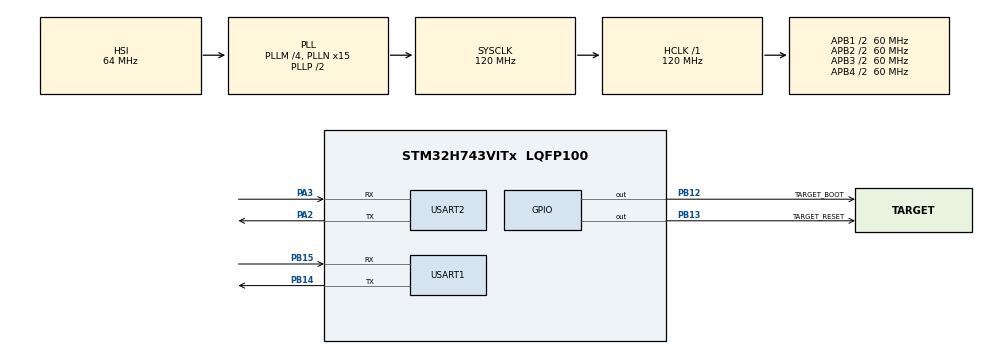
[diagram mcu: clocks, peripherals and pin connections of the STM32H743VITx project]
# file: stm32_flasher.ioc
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CORTEX_M7.CPU_DCache=Disabled
CORTEX_M7.CPU_ICache=Disabled
CORTEX_M7.default_mode_Activation=0
Mcu.Family=STM32H7
Mcu.Name=STM32H743VITx
Mcu.Package=LQFP100
NVIC.PriorityGroup=NVIC_PRIORITYGROUP_4
PA13\ (JTMS/SWDIO).Mode=Serial_Wire
PA13\ (JTMS/SWDIO).Signal=DEBUG_JTMS-SWDIO
PA14\ (JTCK/SWCLK).Mode=Serial_Wire
PA14\ (JTCK/SWCLK).Signal=DEBUG_JTCK-SWCLK
PA2.Mode=Asynchronous
PA2.Signal=USART2_TX
PA3.Mode=Asynchronous
PA3.Signal=USART2_RX
PB12.GPIO_Label=TARGET_BOOT
PB12.Signal=GPIO_Output
PB13.GPIO_Label=TARGET_RESET
PB13.Signal=GPIO_Output
PB14.Mode=Asynchronous
PB14.Signal=USART1_TX
PB15.Mode=Asynchronous
PB15.Signal=USART1_RX
ProjectManager.HeapSize=0x000
ProjectManager.StackSize=0x400
ProjectManager.TargetToolchain=Makefile
RCC.ADCFreq_Value=129000000
RCC.APB1Freq_Value=60000000
RCC.APB2Freq_Value=60000000
RCC.APB3Freq_Value=60000000
RCC.APB4Freq_Value=60000000
RCC.CortexFreq_Value=120000000
RCC.D1PPRE=RCC_APB3_DIV2
RCC.D2PPRE1=RCC_APB1_DIV2
RCC.D2PPRE2=RCC_APB2_DIV2
RCC.D3PPRE=RCC_APB4_DIV2
RCC.DIVM1=4
RCC.DIVN1=15
RCC.HCLKFreq_Value=120000000
RCC.HSE_VALUE=25000000
RCC.PLL2FRACN=0
RCC.PLL3FRACN=0
RCC.PLLFRACN=0
RCC.PWR_Regulator_Voltage_Scale=PWR_REGULATOR_VOLTAGE_SCALE1
RCC.SYSCLKFreq_VALUE=120000000
RCC.SYSCLKSource=RCC_SYSCLKSOURCE_PLLCLK
RCC.USBFreq_Value=120000000
USART1.FIFOMode=FIFOMODE_DISABLE
USART1.RXFIFOThreshold=RXFIFO_THRESHOLD_1EIGHTHFULL
USART1.TXFIFOThreshold=TXFIFO_THRESHOLD_1EIGHTHFULL
USART1.VirtualMode-Asynchronous=VM_ASYNC
USART2.OneBitSampling=UART_ONE_BIT_SAMPLE_DISABLE
USART2.RXFIFOThreshold=RXFIFO_THRESHOLD_1EIGHTHFULL
USART2.TXFIFOThreshold=TXFIFO_THRESHOLD_1EIGHTHFULL
USART2.VirtualMode-Asynchronous=VM_ASYNC
board=custom

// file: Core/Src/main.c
/* USER CODE BEGIN Header */
/**
  ******************************************************************************
  * @file           : main.c
  * @brief          : Main program body
  ******************************************************************************
  * @attention
  *
  * Copyright (c) 2023 STMicroelectronics.
  * All rights reserved.
  *
  * This software is licensed under terms that can be found in the LICENSE file
  * in the root directory of this software component.
  * If no LICENSE file comes with this software, it is provided AS-IS.
  *
  ******************************************************************************
  */
/* USER CODE END Header */
#include "main.h"

/* USER CODE BEGIN Includes */
#include <stdio.h>
#include <stdint.h>
#include <string.h>
#include <sys/param.h>
#include "stm32_port.h"
#include "esp_loader.h"
#include "example_common.h"

// Embedded binary files using bin2array.cmake
extern const uint8_t bootloader_bin[];
extern const uint32_t bootloader_bin_size;
extern const uint8_t bootloader_bin_md5[];
extern const uint8_t partition_table_bin[];
extern const uint32_t partition_table_bin_size;
extern const uint8_t partition_table_bin_md5[];
extern const uint8_t app_bin[];
extern const uint32_t app_bin_size;
extern const uint8_t app_bin_md5[];
/* USER CODE END Includes */

/* USER CODE BEGIN PD */
#define HIGHER_BAUDRATE 230400
#define BUF_LEN 128
/* USER CODE END PD */

UART_HandleTypeDef huart1;
UART_HandleTypeDef huart2;

void SystemClock_Config(void);
static void MX_GPIO_Init(void);
static void MX_USART1_UART_Init(void);
static void MX_USART2_UART_Init(void);

int main(void)
{
  /* USER CODE BEGIN 1 */
  static uint8_t buf[BUF_LEN] = {0};
  /* USER CODE END 1 */

  /* MCU Configuration--------------------------------------------------------*/

  /* Reset of all peripherals, Initializes the Flash interface and the Systick. */
  HAL_Init();

  /* Configure the system clock */
  SystemClock_Config();

  /* Initialize all configured peripherals */
  MX_GPIO_Init();
  MX_USART1_UART_Init();
  MX_USART2_UART_Init();
  /* USER CODE BEGIN 2 */

  esp_loader_t loader;

  stm32_port_t port = {
      .port.ops    = &stm32_uart_ops,
      .huart       = &huart2,
      .port_boot    = TARGET_BOOT_GPIO_Port,
      .pin_num_boot = TARGET_BOOT_Pin,
      .port_rst    = TARGET_RESET_GPIO_Port,
      .pin_num_rst = TARGET_RESET_Pin,
  };

  esp_loader_init_uart(&loader, &port.port);

  if (connect_to_target(&loader, HIGHER_BAUDRATE) == ESP_LOADER_SUCCESS) {

    printf("Loading bootloader...\n");
    target_chip_t chip = esp_loader_get_target(&loader);
    uint32_t bootloader_addr = get_bootloader_address(chip);
    flash_binary(&loader, bootloader_bin, bootloader_bin_size, bootloader_addr);
    printf("Loading partition table...\n");
    flash_binary(&loader, partition_table_bin, partition_table_bin_size, PARTITION_TABLE_ADDRESS);
    printf("Loading app...\n");
    flash_binary(&loader, app_bin, app_bin_size, APPLICATION_ADDRESS);
    esp_loader_reset_target(&loader);

#if (HIGHER_BAUDRATE != 115200)
    HAL_UART_DeInit(&huart2);
    huart2.Init.BaudRate = 115200;
    if (HAL_UART_Init(&huart2) != HAL_OK) {
      Error_Handler();
    }
#endif

    // Delay for skipping the boot message of the targets
    HAL_Delay(500);

    printf("********************************************\n");
    printf("*** Logs below are print from slave .... ***\n");
    printf("********************************************\n");
    while (1)
    {
      HAL_UART_Receive(&huart2, (uint8_t *)buf, BUF_LEN - 1, 100);
      printf("%s", buf);
      memset(buf, 0, BUF_LEN);
    }

  }
  /* USER CODE END 2 */

  /* Infinite loop */
  while (1)
  {

  }
}

void SystemClock_Config(void)
{
  RCC_OscInitTypeDef RCC_OscInitStruct = {0};
  RCC_ClkInitTypeDef RCC_ClkInitStruct = {0};

  /** Supply configuration update enable
  */
  HAL_PWREx_ConfigSupply(PWR_LDO_SUPPLY);

  /** Configure the main internal regulator output voltage
  */
  __HAL_PWR_VOLTAGESCALING_CONFIG(PWR_REGULATOR_VOLTAGE_SCALE1);

  while(!__HAL_PWR_GET_FLAG(PWR_FLAG_VOSRDY)) {}

  /** Initializes the RCC Oscillators according to the specified parameters
  * in the RCC_OscInitTypeDef structure.
  */
  RCC_OscInitStruct.OscillatorType = RCC_OSCILLATORTYPE_HSI;
  RCC_OscInitStruct.HSIState = RCC_HSI_DIV1;
  RCC_OscInitStruct.HSICalibrationValue = RCC_HSICALIBRATION_DEFAULT;
  RCC_OscInitStruct.PLL.PLLState = RCC_PLL_ON;
  RCC_OscInitStruct.PLL.PLLSource = RCC_PLLSOURCE_HSI;
  RCC_OscInitStruct.PLL.PLLM = 4;
  RCC_OscInitStruct.PLL.PLLN = 15;
  RCC_OscInitStruct.PLL.PLLP = 2;
  RCC_OscInitStruct.PLL.PLLQ = 2;
  RCC_OscInitStruct.PLL.PLLR = 2;
  RCC_OscInitStruct.PLL.PLLRGE = RCC_PLL1VCIRANGE_3;
  RCC_OscInitStruct.PLL.PLLVCOSEL = RCC_PLL1VCOWIDE;
  RCC_OscInitStruct.PLL.PLLFRACN = 0;
  if (HAL_RCC_OscConfig(&RCC_OscInitStruct) != HAL_OK)
  {
    Error_Handler();
  }

  /** Initializes the CPU, AHB and APB buses clocks
  */
  RCC_ClkInitStruct.ClockType = RCC_CLOCKTYPE_HCLK|RCC_CLOCKTYPE_SYSCLK
                              |RCC_CLOCKTYPE_PCLK1|RCC_CLOCKTYPE_PCLK2
                              |RCC_CLOCKTYPE_D3PCLK1|RCC_CLOCKTYPE_D1PCLK1;
  RCC_ClkInitStruct.SYSCLKSource = RCC_SYSCLKSOURCE_PLLCLK;
  RCC_ClkInitStruct.SYSCLKDivider = RCC_SYSCLK_DIV1;
  RCC_ClkInitStruct.AHBCLKDivider = RCC_HCLK_DIV1;
  RCC_ClkInitStruct.APB3CLKDivider = RCC_APB3_DIV2;
  RCC_ClkInitStruct.APB1CLKDivider = RCC_APB1_DIV2;
  RCC_ClkInitStruct.APB2CLKDivider = RCC_APB2_DIV2;
  RCC_ClkInitStruct.APB4CLKDivider = RCC_APB4_DIV2;

  if (HAL_RCC_ClockConfig(&RCC_ClkInitStruct, FLASH_LATENCY_1) != HAL_OK)
  {
    Error_Handler();
  }
}

static void MX_USART1_UART_Init(void)
{

  huart1.Instance = USART1;
  huart1.Init.BaudRate = 115200;
  huart1.Init.WordLength = UART_WORDLENGTH_8B;
  huart1.Init.StopBits = UART_STOPBITS_1;
  huart1.Init.Parity = UART_PARITY_NONE;
  huart1.Init.Mode = UART_MODE_TX_RX;
  huart1.Init.HwFlowCtl = UART_HWCONTROL_NONE;
  huart1.Init.OverSampling = UART_OVERSAMPLING_16;
  huart1.Init.OneBitSampling = UART_ONE_BIT_SAMPLE_DISABLE;
  huart1.Init.ClockPrescaler = UART_PRESCALER_DIV1;
  huart1.AdvancedInit.AdvFeatureInit = UART_ADVFEATURE_NO_INIT;
  if (HAL_UART_Init(&huart1) != HAL_OK)
  {
    Error_Handler();
  }
  if (HAL_UARTEx_SetTxFifoThreshold(&huart1, UART_TXFIFO_THRESHOLD_1_8) != HAL_OK)
  {
    Error_Handler();
  }
  if (HAL_UARTEx_SetRxFifoThreshold(&huart1, UART_RXFIFO_THRESHOLD_1_8) != HAL_OK)
  {
    Error_Handler();
  }
  if (HAL_UARTEx_DisableFifoMode(&huart1) != HAL_OK)
  {
    Error_Handler();
  }

}

static void MX_USART2_UART_Init(void)
{

  huart2.Instance = USART2;
  huart2.Init.BaudRate = 115200;
  huart2.Init.WordLength = UART_WORDLENGTH_8B;
  huart2.Init.StopBits = UART_STOPBITS_1;
  huart2.Init.Parity = UART_PARITY_NONE;
  huart2.Init.Mode = UART_MODE_TX_RX;
  huart2.Init.HwFlowCtl = UART_HWCONTROL_NONE;
  huart2.Init.OverSampling = UART_OVERSAMPLING_16;
  huart2.Init.OneBitSampling = UART_ONE_BIT_SAMPLE_DISABLE;
  huart2.Init.ClockPrescaler = UART_PRESCALER_DIV1;
  huart2.AdvancedInit.AdvFeatureInit = UART_ADVFEATURE_NO_INIT;
  if (HAL_UART_Init(&huart2) != HAL_OK)
  {
    Error_Handler();
  }
  if (HAL_UARTEx_SetTxFifoThreshold(&huart2, UART_TXFIFO_THRESHOLD_1_8) != HAL_OK)
  {
    Error_Handler();
  }
  if (HAL_UARTEx_SetRxFifoThreshold(&huart2, UART_RXFIFO_THRESHOLD_1_8) != HAL_OK)
  {
    Error_Handler();
  }
  if (HAL_UARTEx_DisableFifoMode(&huart2) != HAL_OK)
  {
    Error_Handler();
  }

}

static void MX_GPIO_Init(void)
{
  GPIO_InitTypeDef GPIO_InitStruct = {0};

  /* GPIO Ports Clock Enable */
  __HAL_RCC_GPIOA_CLK_ENABLE();
  __HAL_RCC_GPIOB_CLK_ENABLE();

  /*Configure GPIO pin Output Level */
  HAL_GPIO_WritePin(GPIOB, TARGET_BOOT_Pin|TARGET_RESET_Pin, GPIO_PIN_RESET);

  /*Configure GPIO pins : TARGET_BOOT_Pin TARGET_RESET_Pin */
  GPIO_InitStruct.Pin = TARGET_BOOT_Pin|TARGET_RESET_Pin;
  GPIO_InitStruct.Mode = GPIO_MODE_OUTPUT_PP;
  GPIO_InitStruct.Pull = GPIO_NOPULL;
  GPIO_InitStruct.Speed = GPIO_SPEED_FREQ_LOW;
  HAL_GPIO_Init(GPIOB, &GPIO_InitStruct);

}

void Error_Handler(void)
{
  __disable_irq();
  while (1)
  {
  }
}
